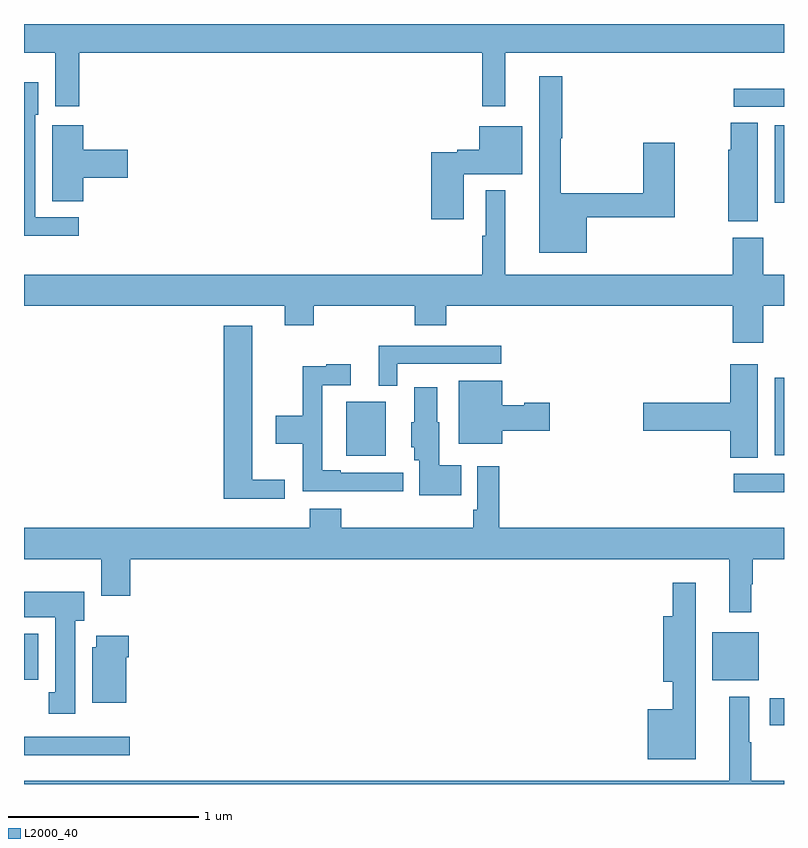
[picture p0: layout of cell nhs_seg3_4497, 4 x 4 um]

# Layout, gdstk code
import gdstk
lib = gdstk.Library(unit=1e-6, precision=1e-09)
def R(c, l, rs):  # rectangles x0, y0, x1, y1
    for r in rs: c.add(gdstk.rectangle(r[:2], r[2:], *l))
def P(c, l, *ps):  # polygons
    for p in ps: c.add(gdstk.Polygon(p, *l))
L2000_40 = (2000, 40)

nhs_seg3_4497 = lib.new_cell('nhs_seg3_4497')
R(nhs_seg3_4497, L2000_40, [(351,698.552,351.556,698.649), (354.924,698.71,355,698.852), (354.623,698.945,354.868,699.199), (351,698.948,351.076,699.19), (354.735,699.936,355,700.032), (352.697,700.127,352.903,700.411), (354.95,700.13,355,700.537), (354.95,701.459,355,701.866), (354.735,701.964,355,702.06)])
P(nhs_seg3_4497, L2000_40, [(351.29,702.248),(353.412,702.248),(353.412,701.967),(353.533,701.967),(353.533,702.248),(355,702.248),(355,702.4),(351,702.4),(351,702.248),(351.164,702.248),(351.164,701.967),(351.29,701.967)],
  [(353.962,701.382),(354.424,701.382),(354.424,701.776),(354.259,701.776),(354.259,701.51),(353.825,701.51),(353.825,701.799),(353.833,701.799),(353.833,702.124),(353.711,702.124),(353.711,701.195),(353.962,701.195)],
  [(351.289,701.382),(351.06,701.382),(351.06,701.922),(351.076,701.922),(351.076,702.094),(351,702.094),(351,701.285),(351.289,701.285)],
  [(354.862,701.879),(354.721,701.879),(354.721,701.739),(354.707,701.739),(354.707,701.363),(354.862,701.363)],
  [(351.311,701.591),(351.547,701.591),(351.547,701.738),(351.311,701.738),(351.311,701.866),(351.149,701.866),(351.149,701.467),(351.311,701.467)],
  [(353.314,701.609),(353.623,701.609),(353.623,701.863),(353.396,701.863),(353.396,701.738),(353.28,701.738),(353.28,701.725),(353.144,701.725),(353.144,701.373),(353.314,701.373)],
  [(354.891,700.916),(355,700.916),(355,701.08),(354.891,701.08),(354.891,701.275),(354.731,701.275),(354.731,701.08),(353.533,701.08),(353.533,701.524),(353.429,701.524),(353.429,701.285),(353.412,701.285),(353.412,701.08),(351,701.08),(351,700.916),(352.373,700.916),(352.373,700.814),(352.526,700.814),(352.526,700.916),(353.057,700.916),(353.057,700.814),(353.222,700.814),(353.222,700.916),(354.731,700.916),(354.731,700.722),(354.891,700.722)],
  [(352.372,700.001),(352.201,700.001),(352.201,700.813),(352.052,700.813),(352.052,699.902),(352.372,699.902)],
  [(352.965,700.611),(353.512,700.611),(353.512,700.707),(352.868,700.707),(352.868,700.496),(352.965,700.496)],
  [(352.996,700.038),(352.666,700.038),(352.666,700.051),(352.569,700.051),(352.569,700.5),(352.72,700.5),(352.72,700.609),(352.592,700.609),(352.592,700.598),(352.468,700.598),(352.468,700.338),(352.326,700.338),(352.326,700.19),(352.468,700.19),(352.468,699.942),(352.753,699.942),(352.753,699.941),(352.996,699.941)],
  [(354.862,700.609),(354.716,700.609),(354.716,700.406),(354.258,700.406),(354.258,700.259),(354.716,700.259),(354.716,700.117),(354.862,700.117)],
  [(353.518,700.259),(353.767,700.259),(353.767,700.406),(353.634,700.406),(353.634,700.393),(353.518,700.393),(353.518,700.522),(353.288,700.522),(353.288,700.19),(353.518,700.19)],
  [(353.3,700.078),(353.185,700.078),(353.185,700.305),(353.176,700.305),(353.176,700.489),(353.054,700.489),(353.054,700.305),(353.039,700.305),(353.039,700.173),(353.054,700.173),(353.054,700.104),(353.081,700.104),(353.081,699.92),(353.3,699.92)],
  [(354.827,699.452),(354.835,699.452),(354.835,699.584),(355,699.584),(355,699.748),(353.501,699.748),(353.501,700.072),(353.385,700.072),(353.385,699.844),(353.365,699.844),(353.365,699.748),(352.67,699.748),(352.67,699.85),(352.505,699.85),(352.505,699.748),(351,699.748),(351,699.584),(351.407,699.584),(351.407,699.39),(351.56,699.39),(351.56,699.584),(354.713,699.584),(354.713,699.303),(354.827,699.303)],
  [(354.535,699.46),(354.414,699.46),(354.414,699.283),(354.365,699.283),(354.365,698.939),(354.414,698.939),(354.414,698.794),(354.284,698.794),(354.284,698.531),(354.535,698.531)],
  [(351.271,699.258),(351.316,699.258),(351.316,699.412),(351,699.412),(351,699.278),(351.164,699.278),(351.164,698.882),(351.131,698.882),(351.131,698.769),(351.271,698.769)],
  [(351.538,699.068),(351.551,699.068),(351.551,699.181),(351.38,699.181),(351.38,699.12),(351.359,699.12),(351.359,698.828),(351.538,698.828)],
  [(355,698.416),(354.827,698.416),(354.827,698.621),(354.817,698.621),(354.817,698.86),(354.713,698.86),(354.713,698.416),(351,698.416),(351,698.4),(355,698.4)])

lib.write_gds('nhs_seg3_4497.gds')
